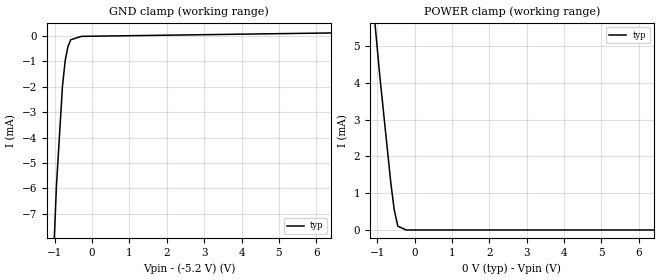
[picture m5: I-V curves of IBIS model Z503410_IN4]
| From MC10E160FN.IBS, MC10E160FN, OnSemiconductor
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| (C) COPYRIGHT 1993-2000
| MENTOR GRAPHICS CORPORATION
| ICX STANDARD LIBRARY, ICX PROJECT MODELING,
| ICX CUSTOM MODELING, ICX VENDOR MODEL
| ALL RIGHTS RESERVED.
| THE FOLLOWING ARE TRADEMARKS OR SERVICE MARKS OF
| MENTOR GRAPHICS CORPORATION:ICX (R), ICX STANDARD
| LIBRARY(R), ICX PROJECT MODELING(R), ICX CUSTOM
| MODELING(R), qualityIBIS(TM), MODELVIEWER(TM),
| AND MODELEDITOR(TM)
| ALL COPIES OF SOFTWARE, INCLUDING BUT NOT LIMITED TO
| ANY MODIFICATIONS, ENHANCEMENTS OR DERIVATIVE WORKS,
| MUST CONTAIN ALL MENTOR GRAPHICS CORPORATION'S
| NOTICES AND LEGENDS, INCLUDING THOSE EMBEDDED IN
| SOFTWARE AND THOSE AFFIXED TO SOFTWARE MEDIUM
| AND CONTAINER, AS RECEIVED FROM MENTOR GRAPHICS
| CORPORATION.
| Model Application Version 1.89 2/18/99.
[Model] Z503410_IN4
Model_type Input_ECL
Vinl = -1.480V
Vinh = -1.130V
C_comp 4.000pF NA NA
| variable typ   min   max
[Voltage Range] -5.200V NA NA
[GND Clamp Reference] -5.200V NA NA
[POWER Clamp Reference] 0.000V NA NA
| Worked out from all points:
|   GND clamp passes 1 mA (typ) near -0.72 V on its own axis
|   POWER clamp passes 1 mA (typ) near -0.60 V on its own axis
[GND Clamp]
-5.2V     -212.9mA   NA         NA
-1.097V   -11.09mA   NA         NA
-952mV    -5.875mA   NA         NA
-791mV    -1.971mA   NA         NA
-718mV    -965.9uA   NA         NA
-645mV    -423.7uA   NA         NA
-571mV    -154.5uA   NA         NA
-285.5mV  -19.88uA   NA         NA
10.4V     194.6uA    NA         NA
[POWER Clamp]
-5.2V     50.38mA    NA         NA
-2.231V   18.59mA    NA         NA
-927.2mV  4.163mA    NA         NA
-634.8mV  1.28mA     NA         NA
-545.7mV  562.2uA    NA         NA
-448.2mV  103.5uA    NA         NA
-224.1mV  0A         NA         NA
10.4V     0A         NA         NA
